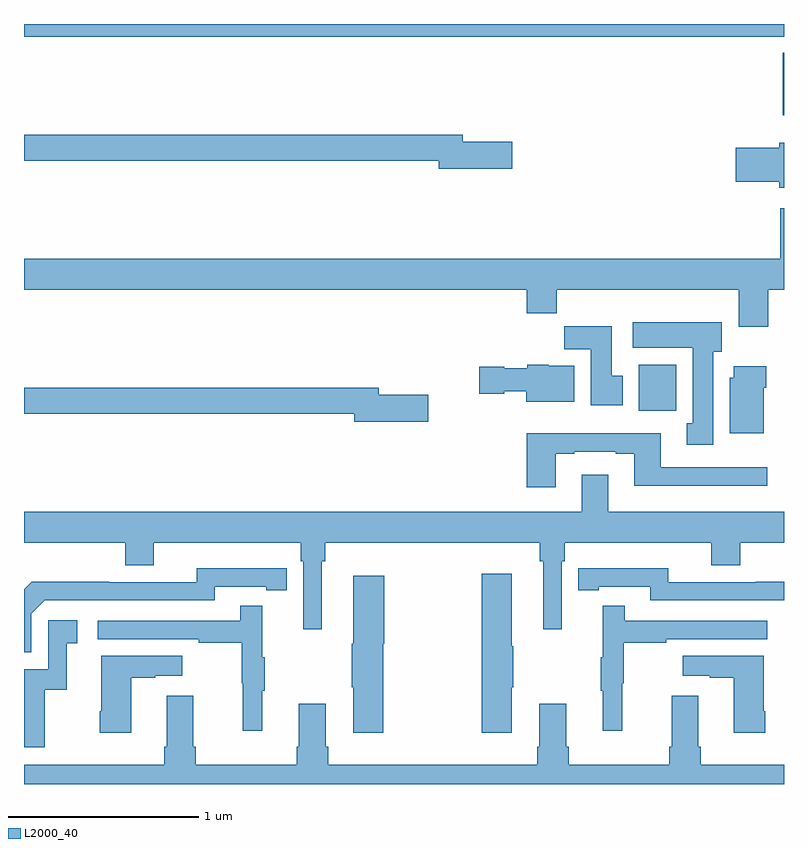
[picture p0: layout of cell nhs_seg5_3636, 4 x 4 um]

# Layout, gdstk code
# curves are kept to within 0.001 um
import gdstk
lib = gdstk.Library(unit=1e-6, precision=1e-09)
def R(c, l, rs):  # rectangles x0, y0, x1, y1
    for r in rs: c.add(gdstk.rectangle(r[:2], r[2:], *l))
def P(c, l, *ps):  # polygons
    for p in ps: c.add(gdstk.Polygon(p, *l))
L2000_40 = (2000, 40)

nhs_seg5_3636 = lib.new_cell('nhs_seg5_3636')
R(nhs_seg5_3636, L2000_40, [(328.235,882.764,328.432,883.006), (328.993,884.318,329,884.647), (325,884.732,329,884.799)])
P(nhs_seg5_3636, L2000_40, [(327.571,884.18),(327.31,884.18),(327.31,884.216),(325,884.216),(325,884.08),(327.182,884.08),(327.182,884.038),(327.571,884.038)],
  [(329,884.173),(328.976,884.173),(328.976,884.147),(328.746,884.147),(328.746,883.969),(328.976,883.969),(328.976,883.937),(329,883.937)],
  [(328.916,883.4),(329,883.4),(329,883.828),(328.979,883.828),(328.979,883.564),(325,883.564),(325,883.4),(327.647,883.4),(327.647,883.276),(327.803,883.276),(327.803,883.4),(328.763,883.4),(328.763,883.206),(328.916,883.206)],
  [(328.627,883.074),(328.672,883.074),(328.672,883.228),(328.203,883.228),(328.203,883.094),(328.52,883.094),(328.52,882.698),(328.487,882.698),(328.487,882.585),(328.627,882.585)],
  [(328.15,882.948),(328.093,882.948),(328.093,883.207),(327.844,883.207),(327.844,883.088),(327.983,883.088),(327.983,882.792),(328.15,882.792)],
  [(327.895,883),(327.762,883),(327.762,883.006),(327.648,883.006),(327.648,882.988),(327.528,882.988),(327.528,882.996),(327.396,882.996),(327.396,882.854),(327.528,882.854),(327.528,882.866),(327.644,882.866),(327.644,882.812),(327.895,882.812)],
  [(328.894,882.884),(328.907,882.884),(328.907,882.997),(328.736,882.997),(328.736,882.936),(328.715,882.936),(328.715,882.644),(328.894,882.644)],
  [(327.127,882.848),(326.866,882.848),(326.866,882.884),(325,882.884),(325,882.748),(326.738,882.748),(326.738,882.706),(327.127,882.706)],
  [(327.799,882.537),(327.895,882.537),(327.895,882.549),(328.115,882.549),(328.115,882.537),(328.211,882.537),(328.211,882.368),(328.912,882.368),(328.912,882.465),(328.351,882.465),(328.351,882.646),(327.647,882.646),(327.647,882.36),(327.799,882.36)],
  [(326.566,881.972),(326.585,881.972),(326.585,882.068),(327.715,882.068),(327.715,881.972),(327.734,881.972),(327.734,881.613),(327.831,881.613),(327.831,881.972),(327.845,881.972),(327.845,882.068),(328.616,882.068),(328.616,881.951),(328.769,881.951),(328.769,882.068),(329,882.068),(329,882.232),(328.075,882.232),(328.075,882.427),(327.935,882.427),(327.935,882.232),(325,882.232),(325,882.068),(325.532,882.068),(325.532,881.951),(325.684,881.951),(325.684,882.068),(326.456,882.068),(326.456,881.972),(326.469,881.972),(326.469,881.613),(326.566,881.613)],
  [(325.038,881.694),(325.11,881.766),(326.004,881.766),(326.004,881.838),(326.276,881.838),(326.276,881.818),(326.384,881.818),(326.384,881.934),(325.908,881.935),(325.908,881.862),(325.448,881.862),(325.448,881.864),(325.04,881.864),(325,881.824),(325,881.493),(325.038,881.493)],
  [(329,881.864),(328.852,881.864),(328.852,881.862),(328.392,881.862),(328.392,881.935),(328.024,881.935),(328.024,881.934),(327.916,881.934),(327.916,881.818),(328.024,881.818),(328.024,881.838),(328.296,881.838),(328.296,881.766),(329,881.766)],
  [(327.568,881.308),(327.576,881.308),(327.576,881.525),(327.568,881.525),(327.568,881.905),(327.41,881.905),(327.41,881.07),(327.568,881.07)],
  [(326.891,881.538),(326.896,881.538),(326.896,881.896),(326.732,881.896),(326.732,881.538),(326.725,881.538),(326.725,881.308),(326.732,881.308),(326.732,881.07),(326.891,881.07)],
  [(328.148,881.328),(328.156,881.328),(328.156,881.542),(328.379,881.542),(328.379,881.562),(328.912,881.562),(328.912,881.658),(328.163,881.658),(328.163,881.737),(328.046,881.737),(328.046,881.465),(328.035,881.465),(328.035,881.291),(328.046,881.291),(328.046,881.079),(328.148,881.079)],
  [(326.255,881.291),(326.266,881.291),(326.266,881.465),(326.255,881.465),(326.255,881.737),(326.137,881.737),(326.137,881.658),(325.389,881.658),(325.389,881.562),(325.921,881.562),(325.921,881.542),(326.145,881.542),(326.145,881.328),(326.152,881.328),(326.152,881.079),(326.255,881.079)],
  [(325.108,881.295),(325.226,881.295),(325.226,881.541),(325.279,881.541),(325.279,881.662),(325.128,881.662),(325.128,881.403),(325,881.403),(325,880.992),(325.108,880.992)],
  [(325.564,881.359),(325.691,881.359),(325.691,881.369),(325.834,881.369),(325.834,881.473),(325.406,881.473),(325.406,881.182),(325.399,881.182),(325.399,881.07),(325.564,881.07)],
  [(328.902,881.182),(328.894,881.182),(328.894,881.473),(328.467,881.473),(328.467,881.369),(328.61,881.369),(328.61,881.359),(328.736,881.359),(328.736,881.07),(328.902,881.07)],
  [(329,880.9),(328.562,880.9),(328.562,880.996),(328.549,880.996),(328.549,881.263),(328.409,881.263),(328.409,880.996),(328.397,880.996),(328.397,880.9),(327.866,880.9),(327.866,880.996),(327.853,880.996),(327.853,881.221),(327.713,881.221),(327.713,880.996),(327.701,880.996),(327.701,880.9),(326.6,880.9),(326.6,880.996),(326.587,880.996),(326.587,881.221),(326.447,881.221),(326.447,880.996),(326.435,880.996),(326.435,880.9),(325.904,880.9),(325.904,880.996),(325.891,880.996),(325.891,881.263),(325.751,881.263),(325.751,880.996),(325.739,880.996),(325.739,880.9),(325,880.9),(325,880.799),(329,880.799)])

lib.write_gds('nhs_seg5_3636.gds')
